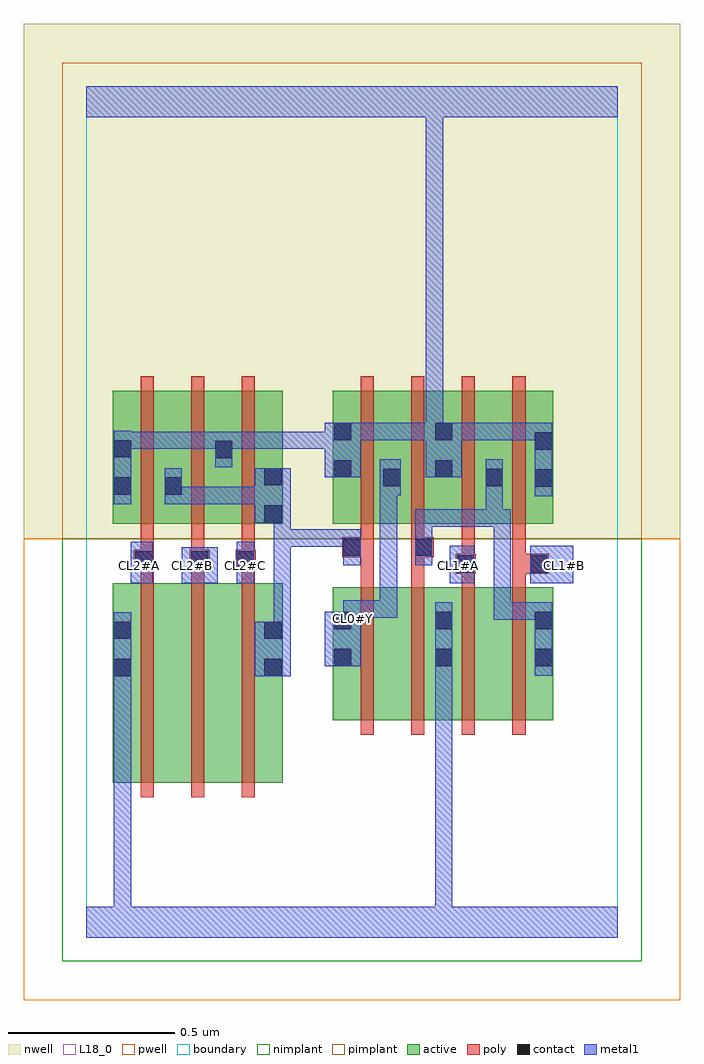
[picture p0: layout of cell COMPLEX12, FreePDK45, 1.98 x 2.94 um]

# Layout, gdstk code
import gdstk
lib = gdstk.Library(unit=1e-6, precision=1e-09)
def R(c, l, rs):  # rectangles x0, y0, x1, y1
    for r in rs: c.add(gdstk.rectangle(r[:2], r[2:], *l))
def A(c, l, x, y, w, h, nx, ny, dx, dy):  # array of equal rectangles
    R(c, l, [(x+i*dx, y+j*dy, x+i*dx+w, y+j*dy+h) for i in range(nx) for j in range(ny)])
active = (1, 0)
pwell = (2, 0)
nwell = (3, 0)
nimplant = (4, 0)
pimplant = (5, 0)
poly = (9, 0)
contact = (10, 0)
metal1 = (11, 0)
L18_0 = (18, 0)
boundary = (235, 0)

complex12 = lib.new_cell('COMPLEX12')
A(complex12, active, 0.08, 1.244, 0.06, 0.4, 3, 1, 0.152, 0)
R(complex12, active, [(0.08,0.466,0.26,1.066), (0.26,0.466,0.412,1.066), (0.412,0.466,0.592,1.066), (0.08,0.556,0.14,1.066), (0.532,0.556,0.592,1.066), (0.742,0.654,0.922,1.054), (0.922,0.654,1.106,1.054), (1.046,0.654,1.226,1.054), (1.226,0.654,1.406,1.054), (0.742,0.756,0.802,1.054), (1.046,0.756,1.106,1.054), (1.346,0.756,1.406,1.054), (0.08,1.244,0.292,1.644), (0.232,1.244,0.444,1.644), (0.384,1.244,0.592,1.644), (0.532,1.244,0.592,1.644), (0.742,1.244,0.802,1.644), (0.742,1.244,0.95,1.644), (0.89,1.244,0.95,1.644), (0.89,1.244,1.106,1.644), (1.046,1.244,1.106,1.644), (1.046,1.244,1.258,1.644), (1.198,1.244,1.258,1.644), (1.198,1.244,1.406,1.644), (1.346,1.244,1.406,1.644)])
R(complex12, pwell, [(-0.188,-0.188,1.788,1.2)])
R(complex12, nwell, [(-0.188,1.2,1.788,2.748)])
R(complex12, nimplant, [(-0.072,-0.072,1.672,1.2)])
R(complex12, pimplant, [(-0.072,1.2,1.672,2.632)])
A(complex12, poly, 0.164, 0.422, 0.04, 0.688, 3, 1, 0.152, 0)
A(complex12, poly, 0.826, 0.61, 0.04, 0.488, 4, 2, 0.152, 0.59)
A(complex12, poly, 0.164, 1.07, 0.04, 0.076, 3, 1, 0.152, 0)
A(complex12, poly, 0.164, 1.126, 0.04, 0.114, 3, 1, 0.152, 0)
A(complex12, poly, 0.164, 1.2, 0.04, 0.488, 3, 1, 0.152, 0)
R(complex12, poly, [(0.826,1.058,0.866,1.184), (0.978,1.058,1.018,1.184), (1.13,1.058,1.17,1.134), (1.282,1.058,1.322,1.134), (1.112,1.094,1.172,1.154), (1.282,1.094,1.322,1.134), (1.282,1.094,1.322,1.134), (1.282,1.094,1.392,1.154), (0.144,1.106,0.204,1.166), (0.164,1.106,0.204,1.146), (0.164,1.106,0.204,1.146), (0.312,1.106,0.372,1.166), (0.45,1.106,0.51,1.166), (1.13,1.114,1.17,1.24), (1.13,1.114,1.17,1.154), (1.13,1.114,1.17,1.154), (1.282,1.114,1.322,1.24), (0.316,1.126,0.356,1.166), (0.316,1.126,0.356,1.166), (0.468,1.126,0.508,1.166), (0.468,1.126,0.508,1.166), (0.77,1.144,0.866,1.204), (0.826,1.144,0.866,1.184), (0.826,1.144,0.866,1.184), (0.978,1.144,1.018,1.184), (0.978,1.144,1.018,1.184), (0.978,1.144,1.046,1.204), (0.826,1.164,0.866,1.24), (0.978,1.164,1.018,1.24)])
R(complex12, contact, [(0.084,0.786,0.136,0.838), (0.536,0.786,0.588,0.838), (0.746,0.816,0.798,0.868), (1.05,0.816,1.102,0.868), (1.35,0.816,1.402,0.868), (0.084,0.898,0.136,0.95), (0.536,0.898,0.588,0.95), (0.746,0.928,0.798,0.98), (1.05,0.928,1.102,0.98), (1.35,0.928,1.402,0.98), (1.116,1.098,1.168,1.15), (1.336,1.098,1.388,1.15), (0.148,1.11,0.2,1.162), (0.316,1.11,0.368,1.162), (0.454,1.11,0.506,1.162), (0.774,1.148,0.826,1.2), (0.99,1.148,1.042,1.2), (0.536,1.248,0.588,1.3), (0.084,1.332,0.136,1.384), (0.236,1.332,0.288,1.384), (1.35,1.356,1.402,1.408), (0.894,1.358,0.946,1.41), (1.202,1.358,1.254,1.41), (0.536,1.36,0.588,1.412), (0.746,1.384,0.798,1.436), (1.05,1.384,1.102,1.436), (0.388,1.442,0.44,1.494), (0.084,1.444,0.136,1.496), (1.35,1.468,1.402,1.52), (0.746,1.496,0.798,1.548), (1.05,1.496,1.102,1.548)])
R(complex12, metal1, [(0,0,1.6,0.092), (0.084,0.04,0.136,0.092), (0.084,0.04,0.136,0.092), (0.084,0.04,0.136,0.092), (0.084,0.04,0.136,0.092), (0.084,0.04,0.136,0.092), (0.084,0.04,0.136,0.092), (0.084,0.04,0.136,0.092), (0.084,0.04,0.136,0.092), (0.084,0.04,0.136,0.81), (1.05,0.04,1.102,0.092), (1.05,0.04,1.102,0.092), (1.05,0.04,1.102,0.092), (1.05,0.04,1.102,0.092), (1.05,0.04,1.102,0.092), (1.05,0.04,1.102,0.092), (1.05,0.04,1.102,0.092), (1.05,0.04,1.102,0.092), (1.05,0.04,1.102,0.092), (1.05,0.04,1.102,0.092), (1.05,0.04,1.102,0.092), (1.05,0.04,1.102,0.092), (1.05,0.04,1.102,0.84), (0.084,0.758,0.136,0.978), (0.508,0.786,0.616,0.95), (1.05,0.788,1.102,1.008), (1.35,0.788,1.402,1.008), (0.718,0.816,0.826,0.98), (0.564,0.898,0.616,1.228), (0.774,0.906,0.826,0.958), (0.774,0.906,0.826,1.014), (1.226,0.956,1.278,1.008), (1.226,0.956,1.402,1.008), (1.226,0.956,1.278,1.288), (1.35,0.956,1.402,1.008), (1.35,0.956,1.402,1.008), (1.35,0.956,1.402,1.008), (1.35,0.956,1.402,1.008), (0.774,0.962,0.826,1.014), (0.774,0.962,0.826,1.014), (0.774,0.962,0.936,1.014), (0.884,0.962,0.936,1.014), (0.884,0.962,0.936,1.382), (0.134,1.066,0.2,1.19), (0.288,1.066,0.396,1.174), (0.454,1.066,0.506,1.19), (1.094,1.066,1.168,1.178), (1.336,1.066,1.466,1.178), (0.774,1.12,0.826,1.228), (0.99,1.12,1.042,1.228), (0.564,1.176,0.616,1.228), (0.564,1.176,0.616,1.228), (0.564,1.176,0.616,1.228), (0.564,1.176,0.826,1.228), (0.564,1.176,0.616,1.3), (0.774,1.176,0.826,1.228), (0.774,1.176,0.826,1.228), (0.99,1.176,1.042,1.228), (0.99,1.176,1.042,1.288), (0.99,1.236,1.254,1.288), (1.202,1.236,1.254,1.288), (1.202,1.236,1.254,1.288), (1.202,1.236,1.254,1.382), (1.202,1.236,1.278,1.288), (0.508,1.248,0.616,1.412), (0.084,1.304,0.136,1.524), (0.236,1.304,0.288,1.356), (0.236,1.304,0.288,1.356), (0.236,1.304,0.288,1.412), (0.236,1.304,0.45,1.356), (0.398,1.304,0.45,1.356), (0.398,1.304,0.56,1.356), (0.508,1.304,0.56,1.356), (0.508,1.304,0.56,1.356), (1.35,1.328,1.402,1.548), (0.884,1.33,0.936,1.382), (0.884,1.33,0.936,1.382), (0.884,1.33,0.946,1.438), (1.202,1.33,1.254,1.438), (0.718,1.384,0.826,1.548), (1.022,1.384,1.13,1.548), (0.388,1.414,0.44,1.522), (0.084,1.47,0.136,1.522), (0.084,1.47,0.136,1.522), (0.084,1.47,0.33,1.522), (0.278,1.47,0.33,1.522), (0.278,1.47,0.33,1.522), (0.278,1.47,0.33,1.522), (0.278,1.47,0.44,1.522), (0.388,1.47,0.44,1.522), (0.388,1.47,0.44,1.522), (0.388,1.47,0.716,1.522), (0.664,1.47,0.716,1.522), (0.664,1.47,0.77,1.522), (0.774,1.496,0.826,1.548), (0.774,1.496,0.826,1.548), (0.774,1.496,0.936,1.548), (0.884,1.496,0.936,1.548), (0.884,1.496,0.936,1.548), (0.884,1.496,0.936,1.548), (0.884,1.496,1.074,1.548), (1.022,1.496,1.074,2.52), (1.078,1.496,1.278,1.548), (1.226,1.496,1.278,1.548), (1.226,1.496,1.278,1.548), (1.226,1.496,1.278,1.548), (1.226,1.496,1.402,1.548), (1.35,1.496,1.402,1.548), (1.35,1.496,1.402,1.548), (0,2.468,1.6,2.56), (1.022,2.468,1.074,2.52), (1.022,2.468,1.074,2.52), (1.022,2.468,1.074,2.52), (1.022,2.468,1.074,2.52), (1.022,2.468,1.074,2.52), (1.022,2.468,1.074,2.52), (1.022,2.468,1.074,2.52), (1.022,2.468,1.074,2.52), (1.022,2.468,1.074,2.52), (1.022,2.468,1.074,2.52), (1.022,2.468,1.074,2.52), (1.022,2.468,1.074,2.52), (1.022,2.468,1.074,2.52), (1.022,2.468,1.074,2.52), (1.022,2.468,1.074,2.52), (1.022,2.468,1.074,2.52)])
A(complex12, L18_0, 0.774, 0.906, 0.052, 0.052, 1, 3, 0, 0.028)
A(complex12, L18_0, 0.134, 1.094, 0.052, 0.052, 3, 1, 0.16, 0)
R(complex12, L18_0, [(0,0,1.6,0.092), (0.084,0.04,0.136,0.092), (0.084,0.04,0.136,0.092), (0.084,0.04,0.136,0.092), (0.084,0.04,0.136,0.092), (0.084,0.04,0.136,0.092), (0.084,0.04,0.136,0.092), (0.084,0.04,0.136,0.092), (0.084,0.04,0.136,0.092), (0.084,0.04,0.136,0.81), (1.05,0.04,1.102,0.092), (1.05,0.04,1.102,0.092), (1.05,0.04,1.102,0.092), (1.05,0.04,1.102,0.092), (1.05,0.04,1.102,0.092), (1.05,0.04,1.102,0.092), (1.05,0.04,1.102,0.092), (1.05,0.04,1.102,0.092), (1.05,0.04,1.102,0.092), (1.05,0.04,1.102,0.092), (1.05,0.04,1.102,0.092), (1.05,0.04,1.102,0.092), (1.05,0.04,1.102,0.84), (0.084,0.758,0.136,0.978), (1.05,0.788,1.102,1.008), (0.718,0.816,0.826,0.98), (0.774,0.906,0.826,1.014), (0.774,0.962,0.826,1.014), (0.774,0.962,0.936,1.014), (0.884,0.962,0.936,1.014), (0.884,0.962,0.936,1.382), (0.134,1.066,0.2,1.19), (0.288,1.066,0.396,1.174), (0.454,1.066,0.506,1.19), (1.094,1.066,1.168,1.178), (1.336,1.066,1.466,1.178), (1.094,1.094,1.146,1.146), (1.414,1.094,1.466,1.146), (0.084,1.304,0.136,1.524), (1.35,1.328,1.402,1.548), (0.884,1.33,0.936,1.382), (0.884,1.33,0.936,1.382), (0.884,1.33,0.946,1.438), (0.718,1.384,0.826,1.548), (1.022,1.384,1.13,1.548), (0.388,1.414,0.44,1.522), (0.084,1.47,0.136,1.522), (0.084,1.47,0.136,1.522), (0.084,1.47,0.33,1.522), (0.278,1.47,0.33,1.522), (0.278,1.47,0.33,1.522), (0.278,1.47,0.33,1.522), (0.278,1.47,0.44,1.522), (0.388,1.47,0.44,1.522), (0.388,1.47,0.44,1.522), (0.388,1.47,0.716,1.522), (0.664,1.47,0.716,1.522), (0.664,1.47,0.77,1.522), (0.774,1.496,0.826,1.548), (0.774,1.496,0.826,1.548), (0.774,1.496,0.936,1.548), (0.884,1.496,0.936,1.548), (0.884,1.496,0.936,1.548), (0.884,1.496,0.936,1.548), (0.884,1.496,1.074,1.548), (1.022,1.496,1.074,2.52), (1.078,1.496,1.278,1.548), (1.226,1.496,1.278,1.548), (1.226,1.496,1.278,1.548), (1.226,1.496,1.278,1.548), (1.226,1.496,1.402,1.548), (1.35,1.496,1.402,1.548), (1.35,1.496,1.402,1.548), (0,2.468,1.6,2.56), (1.022,2.468,1.074,2.52), (1.022,2.468,1.074,2.52), (1.022,2.468,1.074,2.52), (1.022,2.468,1.074,2.52), (1.022,2.468,1.074,2.52), (1.022,2.468,1.074,2.52), (1.022,2.468,1.074,2.52), (1.022,2.468,1.074,2.52), (1.022,2.468,1.074,2.52), (1.022,2.468,1.074,2.52), (1.022,2.468,1.074,2.52), (1.022,2.468,1.074,2.52), (1.022,2.468,1.074,2.52), (1.022,2.468,1.074,2.52), (1.022,2.468,1.074,2.52), (1.022,2.468,1.074,2.52)])
R(complex12, boundary, [(0,0,1.6,2.56)])
complex12.add(gdstk.Label('CL0#Y', (0.8,0.96), layer=11, texttype=0))
complex12.add(gdstk.Label('CL1#A', (1.12,1.12), layer=11, texttype=0))
complex12.add(gdstk.Label('CL1#B', (1.44,1.12), layer=11, texttype=0))
complex12.add(gdstk.Label('CL2#A', (0.16,1.12), layer=11, texttype=0))
complex12.add(gdstk.Label('CL2#B', (0.32,1.12), layer=11, texttype=0))
complex12.add(gdstk.Label('CL2#C', (0.48,1.12), layer=11, texttype=0))

lib.write_gds('COMPLEX12.gds')
